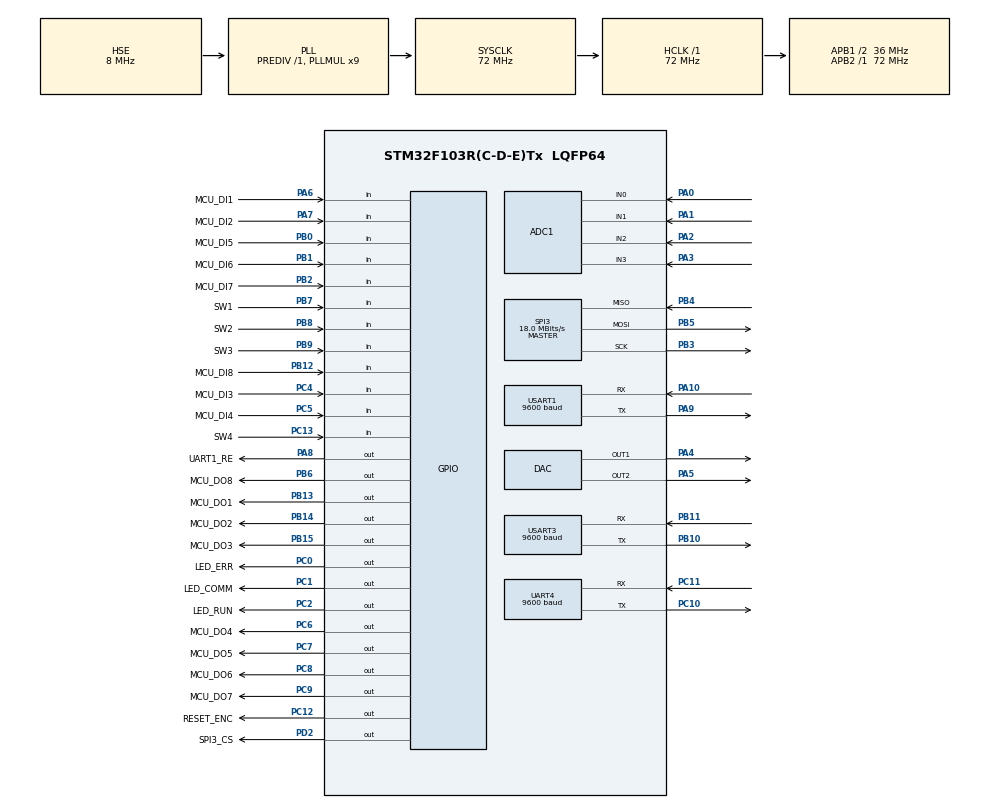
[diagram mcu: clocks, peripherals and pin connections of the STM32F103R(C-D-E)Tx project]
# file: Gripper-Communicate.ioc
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ADC1.ContinuousConvMode=ENABLE
ADC1.EnableRegularConversion=DISABLE
ADC1.master=1
DAC.DAC_OutputBuffer=DAC_OUTPUTBUFFER_ENABLE
DAC.DAC_OutputBuffer2=DAC_OUTPUTBUFFER_ENABLE
Mcu.Family=STM32F1
Mcu.Name=STM32F103R(C-D-E)Tx
Mcu.Package=LQFP64
NVIC.PriorityGroup=NVIC_PRIORITYGROUP_2
NVIC.TIM4_IRQn=true\:1\:0\:true\:false\:true\:true\:true\:true
NVIC.UART4_IRQn=true\:0\:0\:false\:false\:true\:true\:true\:true
NVIC.USART1_IRQn=true\:0\:2\:false\:false\:true\:true\:true\:true
PA0-WKUP.Signal=ADCx_IN0
PA1.Signal=ADCx_IN1
PA10.Mode=Asynchronous
PA10.Signal=USART1_RX
PA13.Mode=Serial_Wire
PA13.Signal=SYS_JTMS-SWDIO
PA14.Mode=Serial_Wire
PA14.Signal=SYS_JTCK-SWCLK
PA2.Signal=ADCx_IN2
PA3.Signal=ADCx_IN3
PA4.Signal=COMP_DAC1_group
PA5.Signal=COMP_DAC2_group
PA6.GPIO_Label=MCU_DI1
PA6.GPIO_PuPd=GPIO_PULLDOWN
PA6.Signal=GPIO_Input
PA7.GPIO_Label=MCU_DI2
PA7.GPIO_PuPd=GPIO_PULLDOWN
PA7.Signal=GPIO_Input
PA8.GPIO_Label=UART1_RE
PA8.Signal=GPIO_Output
PA9.Mode=Asynchronous
PA9.Signal=USART1_TX
PB0.GPIO_Label=MCU_DI5
PB0.GPIO_PuPd=GPIO_PULLDOWN
PB0.Signal=GPIO_Input
PB1.GPIO_Label=MCU_DI6
PB1.GPIO_PuPd=GPIO_PULLDOWN
PB1.Signal=GPIO_Input
PB10.Mode=Asynchronous
PB10.Signal=USART3_TX
PB11.Mode=Asynchronous
PB11.Signal=USART3_RX
PB12.GPIO_Label=MCU_DI8
PB12.GPIO_PuPd=GPIO_PULLDOWN
PB12.Signal=GPIO_Input
PB13.GPIO_Label=MCU_DO1
PB13.Signal=GPIO_Output
PB14.GPIO_Label=MCU_DO2
PB14.Signal=GPIO_Output
PB15.GPIO_Label=MCU_DO3
PB15.Signal=GPIO_Output
PB2.GPIO_Label=MCU_DI7
PB2.GPIO_PuPd=GPIO_PULLDOWN
PB2.Signal=GPIO_Input
PB3.Mode=Full_Duplex_Master
PB3.Signal=SPI3_SCK
PB4.Mode=Full_Duplex_Master
PB4.Signal=SPI3_MISO
PB5.Mode=Full_Duplex_Master
PB5.Signal=SPI3_MOSI
PB6.GPIO_Label=MCU_DO8
PB6.Signal=GPIO_Output
PB7.GPIO_Label=SW1
PB7.GPIO_PuPd=GPIO_PULLUP
PB7.Signal=GPIO_Input
PB8.GPIO_Label=SW2
PB8.GPIO_PuPd=GPIO_PULLUP
PB8.Signal=GPIO_Input
PB9.GPIO_Label=SW3
PB9.GPIO_PuPd=GPIO_PULLUP
PB9.Signal=GPIO_Input
PC0.GPIO_Label=LED_ERR
PC0.Signal=GPIO_Output
PC1.GPIO_Label=LED_COMM
PC1.Signal=GPIO_Output
PC10.Mode=Asynchronous
PC10.Signal=UART4_TX
PC11.Mode=Asynchronous
PC11.Signal=UART4_RX
PC12.GPIO_Label=RESET_ENC
PC12.PinState=GPIO_PIN_SET
PC12.Signal=GPIO_Output
PC13-TAMPER-RTC.GPIO_Label=SW4
PC13-TAMPER-RTC.GPIO_PuPd=GPIO_PULLUP
PC13-TAMPER-RTC.Signal=GPIO_Input
PC2.GPIO_Label=LED_RUN
PC2.Signal=GPIO_Output
PC4.GPIO_Label=MCU_DI3
PC4.GPIO_PuPd=GPIO_PULLDOWN
PC4.Signal=GPIO_Input
PC5.GPIO_Label=MCU_DI4
PC5.GPIO_PuPd=GPIO_PULLDOWN
PC5.Signal=GPIO_Input
PC6.GPIO_Label=MCU_DO4
PC6.Signal=GPIO_Output
PC7.GPIO_Label=MCU_DO5
PC7.Signal=GPIO_Output
PC8.GPIO_Label=MCU_DO6
PC8.Signal=GPIO_Output
PC9.GPIO_Label=MCU_DO7
PC9.Signal=GPIO_Output
PD0-OSC_IN.Mode=HSE-External-Oscillator
PD0-OSC_IN.Signal=RCC_OSC_IN
PD1-OSC_OUT.Mode=HSE-External-Oscillator
PD1-OSC_OUT.Signal=RCC_OSC_OUT
PD2.GPIO_Label=SPI3_CS
PD2.Signal=GPIO_Output
ProjectManager.HeapSize=0x800
ProjectManager.StackSize=0x100
ProjectManager.TargetToolchain=Makefile
RCC.ADCPresc=RCC_ADCPCLK2_DIV6
RCC.AHBFreq_Value=72000000
RCC.APB1CLKDivider=RCC_HCLK_DIV2
RCC.APB1Freq_Value=36000000
RCC.APB1TimFreq_Value=72000000
RCC.APB2Freq_Value=72000000
RCC.APB2TimFreq_Value=72000000
RCC.HCLKFreq_Value=72000000
RCC.PLLMUL=RCC_PLL_MUL9
RCC.PLLSourceVirtual=RCC_PLLSOURCE_HSE
RCC.SYSCLKFreq_VALUE=72000000
RCC.SYSCLKSource=RCC_SYSCLKSOURCE_PLLCLK
RCC.USBFreq_Value=72000000
SH.ADCx_IN0.0=ADC1_IN0,IN0
SH.ADCx_IN1.0=ADC1_IN1,IN1
SH.ADCx_IN2.0=ADC1_IN2,IN2
SH.ADCx_IN3.0=ADC1_IN3,IN3
SH.COMP_DAC1_group.0=DAC_OUT1,DAC_OUT1
SH.COMP_DAC2_group.0=DAC_OUT2,DAC_OUT2
SPI3.BaudRatePrescaler=SPI_BAUDRATEPRESCALER_2
SPI3.CalculateBaudRate=18.0 MBits/s
SPI3.Direction=SPI_DIRECTION_2LINES
SPI3.Mode=SPI_MODE_MASTER
SPI3.VirtualType=VM_MASTER
TIM4.AutoReloadPreload=TIM_AUTORELOAD_PRELOAD_ENABLE
TIM4.Period=2499
TIM4.Prescaler=719
UART4.BaudRate=9600
UART4.VirtualMode=Asynchronous
USART1.BaudRate=9600
USART1.VirtualMode=VM_ASYNC
USART3.BaudRate=9600
USART3.VirtualMode=VM_ASYNC
VP_TIM4_VS_ClockSourceINT.Mode=Internal
board=custom

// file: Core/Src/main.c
/* USER CODE BEGIN Header */
/**
  ******************************************************************************
  * @file           : main.c
  * @brief          : Main program body
  ******************************************************************************
  * @attention
  *
  * <h2><center>&copy; Copyright (c) 2021 STMicroelectronics.
  * All rights reserved.</center></h2>
  *
  * This software component is licensed by ST under BSD 3-Clause license,
  * the "License"; You may not use this file except in compliance with the
  * License. You may obtain a copy of the License at:
  *                        opensource.org/licenses/BSD-3-Clause
  *
  ******************************************************************************
  */
/* USER CODE END Header */
#include "main.h"
#include "adc.h"
#include "dac.h"
#include "spi.h"
#include "tim.h"
#include "usart.h"
#include "gpio.h"

/* USER CODE BEGIN Includes */
#include "led.h"
#include "modbus.h"
#include "stdio.h"
#include "math.h"
#include "net.h"
#include "enc28j60.h"
/* USER CODE END Includes */

/* USER CODE BEGIN PD */
#define AD_MAX_VALUE	4095 //12bit adc
#define VREF			3300 // Vref = 3.3V

#define PROTOCOL_MODBUS_RTU		1
#define PROTOCOL_MODBUS_TCP		2
#define PROTOCOL_TCP_IP			3

#define RI1		1//Kohm
#define RI2		0.47//Kohm
#define RO1		20//Kohm
#define RO2		10//Kohm
#define CALIB_VALUE	1//1.469
/* USER CODE END PD */

/* USER CODE BEGIN PM */
#define CONVERT_ANAL_TO_DIGIT(__VAL__)		round(((__VAL__) * AD_MAX_VALUE) / VREF) // convert analog (mV) to digital (12bit value): result u16
#define CONVERT_DIGIT_TO_ANAL(__VAL__)		round(((__VAL__) * VREF) / AD_MAX_VALUE ) // convert digital (12bit value) to analog (mV): result float
/* USER CODE END PM */

/* USER CODE BEGIN PV */
const float AI_SCALE = (float)RI2 / ((float)RI1 + (float)RI2);
//const float AI_SCALE = (float)RI2 / (float)RI1;
const float AO_SCALE = (float)1 + ((float)RO1 / (float)RO2);

static uint8_t protocol;

uint16_t digit_output_pins[8] = {
		MCU_DO1_Pin, MCU_DO2_Pin, MCU_DO3_Pin, MCU_DO4_Pin,
		MCU_DO5_Pin, MCU_DO6_Pin, MCU_DO7_Pin, MCU_DO8_Pin};
GPIO_TypeDef* digit_output_ports[8] = {
		MCU_DO1_GPIO_Port, MCU_DO2_GPIO_Port, MCU_DO3_GPIO_Port, MCU_DO4_GPIO_Port,
		MCU_DO5_GPIO_Port, MCU_DO6_GPIO_Port, MCU_DO7_GPIO_Port, MCU_DO8_GPIO_Port};

uint16_t digit_input_pins[8] = {
		MCU_DI1_Pin, MCU_DI2_Pin, MCU_DI3_Pin, MCU_DI4_Pin,
		MCU_DI5_Pin, MCU_DI6_Pin, MCU_DI7_Pin, MCU_DI8_Pin};
GPIO_TypeDef* digit_input_ports[8] = {
		MCU_DI1_GPIO_Port, MCU_DI2_GPIO_Port, MCU_DI3_GPIO_Port, MCU_DI4_GPIO_Port,
		MCU_DI5_GPIO_Port, MCU_DI6_GPIO_Port, MCU_DI7_GPIO_Port, MCU_DI8_GPIO_Port};

uint32_t analog_output_channels[2] = {DAC_CHANNEL_1, DAC_CHANNEL_2};
uint32_t analog_input_channels[4] = {ADC_CHANNEL_0, ADC_CHANNEL_1, ADC_CHANNEL_2, ADC_CHANNEL_3};

uint8_t mac_addr[6] = {0x00, 0x00, 0x00, 0x35, 0x02, 0x04};
uint8_t ip_addr[4] = {192, 168, 1, 150};
uint16_t tcp_port = 502;

// sun test uart4
uint8_t ok[2]={"OK"};
uint8_t error[5]={"ERROR"};
uint8_t data_recieve1[1];
uint8_t data_recieve2[20];
uint8_t count=0,i;
uint8_t flag = 0;

/* USER CODE END PV */

void SystemClock_Config(void);
/* USER CODE BEGIN PFP */
void analog_init(void);
uint8_t selected_protocol(void);
void protocol_init(void);
void ethernet_init(void);
/* USER CODE END PFP */

/* USER CODE BEGIN 0 */
//to use printf function
int _write(int file, char *ptr, int len)
{
  HAL_UART_Transmit(&huart3,(uint8_t *)ptr,len,0xFFFFFFFF);
  return len;
}
/* USER CODE END 0 */

int main(void)
{

  /* MCU Configuration--------------------------------------------------------*/

  /* Reset of all peripherals, Initializes the Flash interface and the Systick. */
  HAL_Init();

  /* Configure the system clock */
  SystemClock_Config();

  /* Initialize all configured peripherals */
  MX_GPIO_Init();
  MX_USART1_UART_Init();
  MX_ADC1_Init();
  MX_DAC_Init();
  MX_SPI3_Init();
  MX_USART3_UART_Init();
  MX_TIM4_Init();
  MX_UART4_Init();
  /* USER CODE BEGIN 2 */
 // HAL_UART_Receive_IT(&huart4,&data_recieve1[0],1);
   HAL_GPIO_WritePin(digit_output_ports[0], digit_output_pins[0], 1);
   HAL_GPIO_WritePin(digit_output_ports[1], digit_output_pins[1], 1);
   HAL_GPIO_WritePin(digit_output_ports[2], digit_output_pins[2], 1);
   HAL_GPIO_WritePin(digit_output_ports[3], digit_output_pins[3], 1);
   HAL_GPIO_WritePin(digit_output_ports[4], digit_output_pins[4], 1);
   HAL_GPIO_WritePin(digit_output_ports[5], digit_output_pins[5], 1);
   HAL_GPIO_WritePin(digit_output_ports[6], digit_output_pins[6], 1);
   HAL_GPIO_WritePin(digit_output_ports[7], digit_output_pins[7], 1);
  analog_init();
  protocol_init();
  led_init(protocol);
  // sun test

  /* USER CODE END 2 */

  /* Infinite loop */
  /* USER CODE BEGIN WHILE */
  while (1)
  {
	  if(protocol == PROTOCOL_MODBUS_TCP)
	  {
		  net_analyzer();
	  }
	  modbus_checking_request();
	 // HAL_Delay(10);

	/* USER CODE END WHILE */

  }
}

void SystemClock_Config(void)
{
  RCC_OscInitTypeDef RCC_OscInitStruct = {0};
  RCC_ClkInitTypeDef RCC_ClkInitStruct = {0};
  RCC_PeriphCLKInitTypeDef PeriphClkInit = {0};

  /** Initializes the RCC Oscillators according to the specified parameters
  * in the RCC_OscInitTypeDef structure.
  */
  RCC_OscInitStruct.OscillatorType = RCC_OSCILLATORTYPE_HSE;
  RCC_OscInitStruct.HSEState = RCC_HSE_ON;
  RCC_OscInitStruct.HSEPredivValue = RCC_HSE_PREDIV_DIV1;
  RCC_OscInitStruct.HSIState = RCC_HSI_ON;
  RCC_OscInitStruct.PLL.PLLState = RCC_PLL_ON;
  RCC_OscInitStruct.PLL.PLLSource = RCC_PLLSOURCE_HSE;
  RCC_OscInitStruct.PLL.PLLMUL = RCC_PLL_MUL9;
  if (HAL_RCC_OscConfig(&RCC_OscInitStruct) != HAL_OK)
  {
	Error_Handler();
  }
  /** Initializes the CPU, AHB and APB buses clocks
  */
  RCC_ClkInitStruct.ClockType = RCC_CLOCKTYPE_HCLK|RCC_CLOCKTYPE_SYSCLK
							  |RCC_CLOCKTYPE_PCLK1|RCC_CLOCKTYPE_PCLK2;
  RCC_ClkInitStruct.SYSCLKSource = RCC_SYSCLKSOURCE_PLLCLK;
  RCC_ClkInitStruct.AHBCLKDivider = RCC_SYSCLK_DIV1;
  RCC_ClkInitStruct.APB1CLKDivider = RCC_HCLK_DIV2;
  RCC_ClkInitStruct.APB2CLKDivider = RCC_HCLK_DIV1;

  if (HAL_RCC_ClockConfig(&RCC_ClkInitStruct, FLASH_LATENCY_2) != HAL_OK)
  {
	Error_Handler();
  }
  PeriphClkInit.PeriphClockSelection = RCC_PERIPHCLK_ADC;
  PeriphClkInit.AdcClockSelection = RCC_ADCPCLK2_DIV6;
  if (HAL_RCCEx_PeriphCLKConfig(&PeriphClkInit) != HAL_OK)
  {
	Error_Handler();
  }
}

/* USER CODE BEGIN 4 */

void protocol_init(void)
{
	protocol = selected_protocol();
	if(protocol == PROTOCOL_MODBUS_RTU)
	{
		//init modbus rtu
		modbus_init(MODBUS_RTU);
	}
	else if(protocol == PROTOCOL_MODBUS_TCP)
	{
		//init modbus tcp
		ethernet_init();
		modbus_init(MODBUS_TCP);
	}
	else if(protocol == PROTOCOL_TCP_IP)
	{
		//inti tcp/ip
	}
}

void analog_init(void)
{
	HAL_ADCEx_Calibration_Start(&hadc1);
	HAL_DAC_Start(&hdac, DAC_CHANNEL_1);
	HAL_DAC_Start(&hdac, DAC_CHANNEL_2);
	HAL_DAC_SetValue(&hdac, DAC_CHANNEL_1, DAC_ALIGN_12B_R, 0);
	HAL_DAC_SetValue(&hdac, DAC_CHANNEL_2, DAC_ALIGN_12B_R, 0);
}

/*mode = 0 read digital input, mode != 0 read digital output*/
uint8_t digital_read(uint16_t channel, uint8_t mode)
{
	if(mode == 0)
	{
		return HAL_GPIO_ReadPin(digit_input_ports[channel], digit_input_pins[channel]);
	}
	return HAL_GPIO_ReadPin(digit_output_ports[channel], digit_output_pins[channel]);
}

void digital_write(uint16_t channel, uint8_t pinstate)
{
	HAL_GPIO_WritePin(digit_output_ports[channel], digit_output_pins[channel], pinstate);
}

/*mode = 0 read analog input, mode != 0 read analog output*/
uint8_t analog_read(uint16_t channel, uint16_t *pvalue, uint8_t mode)
{
	uint32_t values = 0;
	if(channel > 3)
	{
		channel = 3;
	}
	if(mode != 0)//doc gia tri set DAC
	{
		values = HAL_DAC_GetValue(&hdac, analog_output_channels[channel]);
		*pvalue = CONVERT_DIGIT_TO_ANAL(values);
		return HAL_OK;
	}
	// doc gia tri analog vao
	uint8_t i;
	HAL_StatusTypeDef status;
	ADC_ChannelConfTypeDef sConfig = {0};

	sConfig.Channel = analog_input_channels[channel];
	sConfig.Rank = ADC_REGULAR_RANK_1;
	sConfig.SamplingTime = ADC_SAMPLETIME_28CYCLES_5;
	status = HAL_ADC_ConfigChannel(&hadc1, &sConfig);
	if (status != HAL_OK)
	{
		return status;
	}

	for(i = 0; i < 10; i++)
	{
		HAL_ADC_Start(&hadc1);
		status = HAL_ADC_PollForConversion(&hadc1, 10);
		if(status != HAL_OK)
		{
			return status;
		}
		values += HAL_ADC_GetValue(&hadc1);
		HAL_ADC_Stop(&hadc1);
	}
	values = (values / 10) & 0xFFFF;//tinh trung binh
	*pvalue = CONVERT_DIGIT_TO_ANAL(values) * CALIB_VALUE;
	return status;
}

uint8_t analog_write(uint16_t channel, uint16_t volt)
{
	if(volt > VREF)
	{
		volt = VREF;
	}
	uint16_t value = CONVERT_ANAL_TO_DIGIT(volt);
	return HAL_DAC_SetValue(&hdac, analog_output_channels[channel], DAC_ALIGN_12B_R, value);
}
/**
 * sw1		sw2		protocol
 *  0		 x		modbus rtu
 *  1		 0		modbus tcp
 *  1		 1		tcp/ip
 */

uint8_t selected_protocol(void)
{
	uint8_t state;

	state = HAL_GPIO_ReadPin(SW1_GPIO_Port, SW1_Pin);
	if(state == 1)// select modbus rtu
	{
		return PROTOCOL_MODBUS_RTU;
	}
	else// select modbus tcp
	{
		return PROTOCOL_MODBUS_TCP;
	}
//	state = HAL_GPIO_ReadPin(SW2_GPIO_Port, SW2_Pin);
//	if(state == 0)// select modbus tcp
//	{
//		return PROTOCOL_MODBUS_TCP;
//	}
//	else // select tcp/ip
//	{
//		return PROTOCOL_TCP_IP;
//	}

}

void ethernet_init(void)
{
	uint8_t f;
	//uint8_t rev;
	enc28j60_set_spi(&hspi3);
	printf("initialize enc28j60\n");
	/*initialize enc28j60*/
	enc28j60Init(mac_addr);
	enc28j60getrev();
	enc28j60clkout(2); // change clkout from 6.25MHz to 12.5MHz
	HAL_Delay(10);

	for( f=0; f<3; f++ )
	{
		// 0x880 is PHLCON LEDB=on, LEDA=on
		// enc28j60PhyWrite(PHLCON,0b0011 1000 1000 00 00);
		enc28j60PhyWrite(PHLCON,0x3880);
		HAL_Delay(200);

		// 0x990 is PHLCON LEDB=off, LEDA=off
		// enc28j60PhyWrite(PHLCON,0b0011 1001 1001 00 00);
		enc28j60PhyWrite(PHLCON,0x3990);
		HAL_Delay(200);
	}

	// 0x476 is PHLCON LEDA=links status, LEDB=receive/transmit
	// enc28j60PhyWrite(PHLCON,0b0011 0100 0111 01 10);
	enc28j60PhyWrite(PHLCON,0x3476);
	HAL_Delay(100);

	printf("initialize IP\n");
	net_init(mac_addr, ip_addr, tcp_port);
}
void delay_us(uint32_t delays)
{
	uint8_t i;
	while((delays--) > 0)
	{
		for(i = 0; i < 72; i++);

	}
}
/* USER CODE END 4 */

void Error_Handler(void)
{
  __disable_irq();
  while (1)
  {
  }
}

/************************ (C) COPYRIGHT STMicroelectronics *****END OF FILE****/
